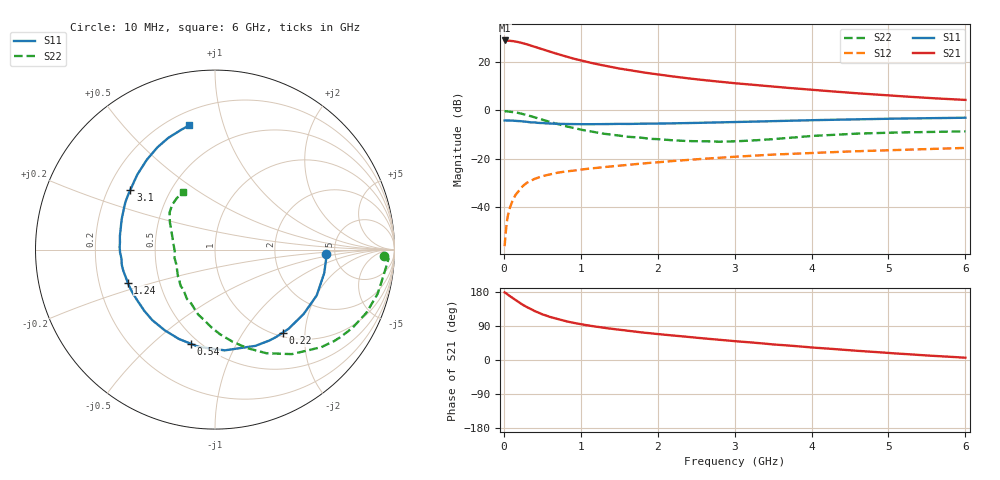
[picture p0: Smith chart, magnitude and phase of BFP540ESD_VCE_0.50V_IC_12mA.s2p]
! Infineon Technologies  Discrete & RF Semiconductors
! BFP540ESD
! VCE = 0.50 V,  IC =  12 mA
! Common Emitter S-Parameters:  Nov 2015
# GHz  S  MA  R  50
!  f  S11  S21  S12  S22
! GHz  MAG  ANG  MAG  ANG  MAG  ANG  MAG  ANG
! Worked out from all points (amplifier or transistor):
!   210 points, 10 MHz to 6 GHz, reference 50 ohm
!   highest |S21| = 29.1 dB at 10 MHz (marker M1)
!   |S21| within 3 dB of that: start of sweep to 436.2 MHz
!   unconditionally stable (mu >= 1): 2.482 GHz to end of sweep
!   at 185 MHz: K = 0.16, MSG = 31.2 dB, |S12| = -33.8 dB
!   at 1.52 GHz: K = 0.80, MSG = 20.1 dB, |S12| = -22.9 dB
!   at 6 GHz: K = 1.16, MAG = 7.6 dB, |S12| = -15.6 dB
!   S11 on the Smith chart (normalised r, x): 10 MHz: 4.24, -0.36; 220 MHz: 1.07, -1.54; 540 MHz: 0.45, -0.67; 1.24 GHz: 0.33, -0.16; 3.1 GHz: 0.29, +0.29; 6 GHz: 0.28, +0.77
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0.01  0.6208 -2.4  28.66 178.5  0.0015 88.2  0.9435 -2.0
0.02  0.621 -5.5  28.32 177.4  0.0023 93.7  0.9681 -3.0
0.05  0.6225 -12.2  28.49 172.7  0.0062 83.5  0.9532 -7.6
0.1  0.6216 -24.3  28.11 165.4  0.0118 80.7  0.939 -15.2
0.155  0.6087 -37.0  27.25 157.6  0.0177 74.2  0.9104 -23.3
0.22  0.5968 -50.9  25.78 149.1  0.0239 68.8  0.8655 -32.3
0.3  0.5817 -67.2  23.82 139.4  0.0313 64.2  0.8036 -42.6
0.4  0.564 -84.4  21.19 129.2  0.0377 57.8  0.7225 -53.7
0.5  0.5494 -99.6  18.84 120.5  0.043 53.3  0.6447 -63.6
0.54  0.5414 -104.4  17.94 117.9  0.0445 51.9  0.6162 -66.7
0.62  0.5343 -113.9  16.31 112.5  0.0475 49.5  0.5655 -73.3
0.7  0.5298 -121.9  14.94 107.8  0.0508 47.6  0.5216 -79.3
0.8  0.5258 -131.6  13.36 102.6  0.0536 45.6  0.4734 -86.5
1.02  0.5173 -147.2  10.81 93.8  0.0594 43.4  0.3944 -99.4
1.24  0.5197 -159.3  9.012 86.8  0.0648 42.0  0.3412 -110.8
1.6  0.5235 -174.5  7.029 77.3  0.0733 40.2  0.284 -128.1
2.02  0.5355 171.6  5.554 68.1  0.0839 38.3  0.2525 -145.0
2.6  0.5563 156.0  4.286 56.9  0.0988 35.3  0.2303 -168.4
3.1  0.5775 144.7  3.58 48.2  0.1111 32.0  0.2318 173.7
4.1  0.6323 125.7  2.619 31.7  0.1324 23.7  0.3006 146.9
5.1  0.6775 111.4  2.011 17.2  0.1502 15.8  0.3476 132.1
6  0.7071 101.8  1.658 6.0  0.1664 9.6  0.3676 119.5
